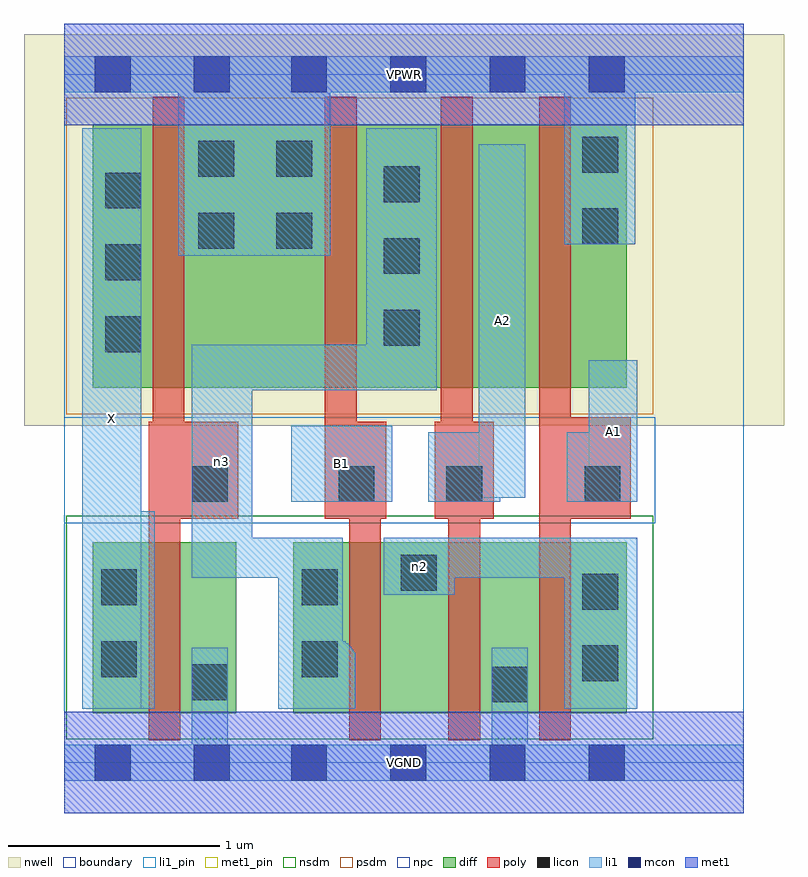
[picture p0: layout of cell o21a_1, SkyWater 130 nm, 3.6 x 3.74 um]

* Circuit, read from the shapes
.subckt o21a_1 A1 A2 B1 VGND VPWR X n2 n3
XM1 VGND n3 X VSUBS sky130_fd_pr__nfet_01v8 w=0.81 l=0.15
XM2 n2 B1 n3 VSUBS sky130_fd_pr__nfet_01v8 w=0.81 l=0.15
XM3 VGND A2 n2 VSUBS sky130_fd_pr__nfet_01v8 w=0.81 l=0.15
XM4 n2 A1 VGND VSUBS sky130_fd_pr__nfet_01v8 w=0.81 l=0.15
XM5 VPWR n3 X n1 sky130_fd_pr__pfet_01v8 w=1.25 l=0.15
XM6 n3 B1 VPWR n1 sky130_fd_pr__pfet_01v8 w=1.25 l=0.15
XM7 n4 A2 n3 n1 sky130_fd_pr__pfet_01v8 w=1.25 l=0.15
XM8 VPWR A1 n4 n1 sky130_fd_pr__pfet_01v8 w=1.25 l=0.15
.ends

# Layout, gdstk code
import gdstk
lib = gdstk.Library(unit=1e-6, precision=1e-09)
def R(c, l, rs):  # rectangles x0, y0, x1, y1
    for r in rs: c.add(gdstk.rectangle(r[:2], r[2:], *l))
def A(c, l, x, y, w, h, nx, ny, dx, dy):  # array of equal rectangles
    R(c, l, [(x+i*dx, y+j*dy, x+i*dx+w, y+j*dy+h) for i in range(nx) for j in range(ny)])
nwell = (64, 20)
diff = (65, 20)
poly = (66, 20)
licon = (66, 44)
li1_pin = (67, 16)
li1 = (67, 20)
mcon = (67, 44)
met1_pin = (68, 16)
met1 = (68, 20)
nsdm = (93, 44)
psdm = (94, 20)
npc = (95, 20)
boundary = (235, 4)

o21a_1 = lib.new_cell('o21a_1')
R(o21a_1, nwell, [(-0.19,1.595,3.41,3.45), (0,1.595,3.22,3.45)])
R(o21a_1, diff, [(0.135,0.235,0.815,1.045), (1.085,0.235,2.665,1.045), (0.135,1.775,2.665,3.025)])
R(o21a_1, poly, [(0.4,0.105,0.55,1.615), (1.35,0.105,1.5,1.615), (1.82,0.105,1.97,1.615), (2.25,0.105,2.4,3.155), (0.4,1.155,0.825,1.615), (0.42,1.155,0.57,3.155), (1.235,1.155,1.385,3.155), (1.235,1.155,1.525,1.615), (1.755,1.155,2.035,1.615), (1.785,1.155,1.935,3.155), (2.25,1.155,2.685,1.635)])
A(o21a_1, licon, 0.195, 1.945, 0.17, 0.17, 1, 3, 0, 0.34)
A(o21a_1, licon, 1.515, 1.975, 0.17, 0.17, 1, 3, 0, 0.34)
R(o21a_1, licon, [(2.025,0.285,2.195,0.455), (0.605,0.295,0.775,0.465), (2.455,0.385,2.625,0.555), (0.175,0.405,0.345,0.575), (1.125,0.405,1.295,0.575), (2.455,0.725,2.625,0.895), (0.175,0.745,0.345,0.915), (1.125,0.745,1.295,0.915), (1.595,0.815,1.765,0.985), (0.605,1.235,0.775,1.405), (1.3,1.235,1.47,1.405), (1.81,1.235,1.98,1.405), (2.465,1.235,2.635,1.405), (0.635,2.435,0.805,2.605), (1.005,2.435,1.175,2.605), (2.455,2.455,2.625,2.625), (0.635,2.775,0.805,2.945), (1.005,2.775,1.175,2.945), (2.455,2.795,2.625,2.965)])
R(o21a_1, li1_pin, [(0.085,0.255,0.365,3.005), (1.075,1.235,1.555,1.595), (2.485,1.235,2.715,1.905), (1.965,1.255,2.185,2.93)])
R(o21a_1, li1, [(0,-0.085,3.22,0.085), (0.605,-0.085,0.775,0.545), (2.025,-0.085,2.195,0.545), (0.085,0.255,0.365,3.005), (0.085,0.255,0.43,1.19), (1.015,0.255,1.32,1.065), (1.015,0.255,1.38,0.52), (1.015,0.255,1.355,0.555), (1.015,0.255,1.335,0.575), (1.015,0.255,1.37,0.535), (1.015,0.255,1.345,0.565), (1.015,0.255,1.36,0.55), (1.015,0.255,1.365,0.54), (1.015,0.255,1.375,0.525), (2.37,0.255,2.715,1.065), (1.515,0.795,1.85,1.065), (0.605,0.875,0.89,1.98), (0.605,0.875,1.32,1.065), (1.515,0.875,2.715,1.065), (1.075,1.235,1.555,1.595), (1.725,1.235,2.065,1.565), (2.38,1.235,2.715,1.565), (2.485,1.235,2.715,1.905), (1.965,1.255,2.185,2.93), (0.605,1.765,1.765,1.98), (1.43,1.765,1.765,3.005), (0.54,2.4,1.26,3.345), (2.37,2.455,2.705,3.345), (0,3.175,3.22,3.345)])
A(o21a_1, mcon, 1.075, -0.085, 0.17, 0.17, 4, 2, 0.47, 3.26)
R(o21a_1, mcon, [(0.145,-0.085,0.315,0.085), (0.615,-0.085,0.785,0.085), (0.145,3.175,0.315,3.345), (0.615,3.175,0.785,3.345)])
R(o21a_1, met1_pin, [(0,-0.24,3.22,0.24), (0,3.02,3.22,3.5)])
R(o21a_1, met1, [(0,-0.24,3.22,0.24), (0,3.02,3.22,3.5)])
R(o21a_1, nsdm, [(0.01,0.11,2.79,1.17)])
R(o21a_1, psdm, [(0.01,1.65,2.79,3.15)])
R(o21a_1, npc, [(0,1.135,2.8,1.635)])
R(o21a_1, boundary, [(0,0,3.22,3.26)])
o21a_1.add(gdstk.Label('A1', (2.6,1.57), layer=67, texttype=5))
o21a_1.add(gdstk.Label('A2', (2.075,2.092), layer=67, texttype=5))
o21a_1.add(gdstk.Label('B1', (1.315,1.415), layer=67, texttype=5))
o21a_1.add(gdstk.Label('X', (0.225,1.63), layer=67, texttype=5))
o21a_1.add(gdstk.Label('n2', (1.682,0.93), layer=67, texttype=5))
o21a_1.add(gdstk.Label('n3', (0.747,1.427), layer=67, texttype=5))
o21a_1.add(gdstk.Label('VPWR', (1.61,3.26), layer=68, texttype=5))
o21a_1.add(gdstk.Label('VGND', (1.61,0), layer=68, texttype=5))
o21a_1.add(gdstk.Label('A1', (2.6,1.57), layer=67, texttype=16))
o21a_1.add(gdstk.Label('A2', (2.075,2.092), layer=67, texttype=16))
o21a_1.add(gdstk.Label('B1', (1.315,1.415), layer=67, texttype=16))
o21a_1.add(gdstk.Label('X', (0.225,1.63), layer=67, texttype=16))
o21a_1.add(gdstk.Label('VPWR', (1.61,3.26), layer=68, texttype=16))
o21a_1.add(gdstk.Label('VGND', (1.61,0), layer=68, texttype=16))

lib.write_gds('o21a_1.gds')
